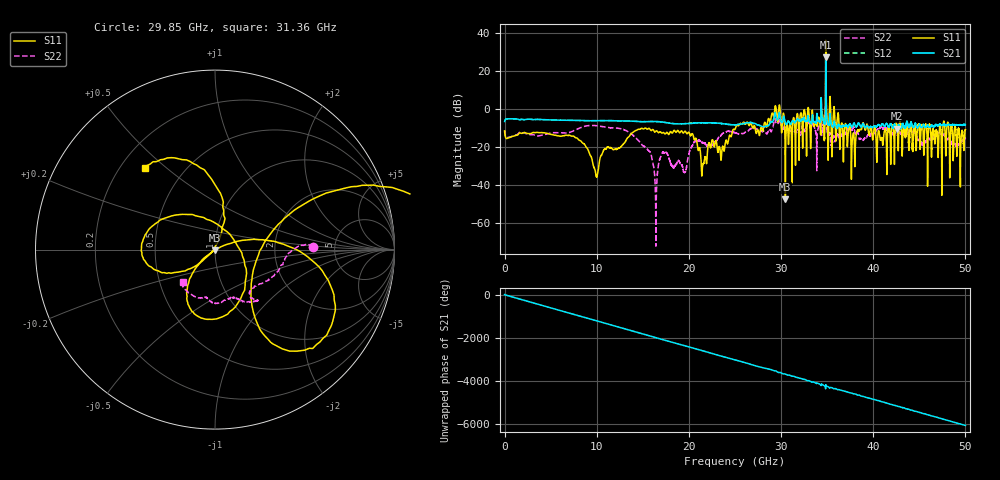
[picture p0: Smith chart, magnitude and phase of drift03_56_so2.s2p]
!Created with skrf (http://scikit-rf.org).
# Hz S RI R 50.0
!freq ReS11 ImS11 ReS21 ImS21 ReS12 ImS12 ReS22 ImS22
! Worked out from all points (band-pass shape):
!   10001 points, 300 kHz to 50 GHz, reference 50 ohm
!   highest |S21| = 27.44 dB at 34.85 GHz (marker M1); lowest = -10.4 dB at 42.56 GHz (marker M2)
!   |S21| within 3 dB of the highest: 34.84375 GHz to 34.84599 GHz (2.239 MHz wide, 0.00643 % of centre)
!   lowest |S11| = -47.6 dB at 30.47 GHz (marker M3), VSWR 1.01, Z = 49.8 - j0.343 ohm
!   |S11| at or under -10 dB: start of sweep to 15.23 GHz; 15.32 GHz to 25.05 GHz (9.737 GHz wide, 48.2 % of centre); 40.22 GHz to 41.62 GHz (1.397 GHz wide, 3.41 % of centre) (the widest 3 of 47)
!   |S22| runs from -72.2 to 18.6 dB; largest |S21 - S12| = 3.5
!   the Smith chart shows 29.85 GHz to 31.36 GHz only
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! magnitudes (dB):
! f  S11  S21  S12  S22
! 300 kHz  -11.5  -6.5  -6.5  -11.4
! 8.335 GHz  -17.1  -6.0  -6.0  -9.6
! 9.955 GHz  -35.5  -6.1  -6.1  -8.7
! 11 GHz  -20.9  -6.0  -6.0  -9.5
! 13.97 GHz  -12.2  -6.4  -6.3  -13.9
! 16.36 GHz  -11.9  -6.5  -6.5  -42.5
! 16.67 GHz  -12.4  -6.5  -6.5  -29.9
! 17.34 GHz  -12.8  -6.9  -6.9  -22.9
! 19.55 GHz  -11.7  -7.7  -7.6  -33.1
! 20.21 GHz  -13.9  -7.4  -7.5  -20.4
! 21.55 GHz  -28.8  -7.2  -7.2  -17.7
! 25 GHz  -10.6  -8.3  -8.2  -12.5
! 29.6 GHz  -5.5  -5.7  -5.9  -7.9
! 30.47 GHz  -47.6  -7.2  -7.2  -9.1
! 33.34 GHz  -3.8  -6.8  -6.7  -9.3
! 34.85 GHz  36.2  27.4  27.3  18.6
! 35.62 GHz  -7.2  -9.3  -9.1  -15.9
! 37.83 GHz  -12.7  -8.3  -8.4  -9.9
! 38.82 GHz  -8.7  -8.2  -8.2  -16.2
! 41.67 GHz  -9.3  -9.4  -9.3  -11.4
! 42.56 GHz  -8.4  -10.4  -10.4  -13.4
! 50 GHz  -10.7  -8.2  -8.2  -15.6
